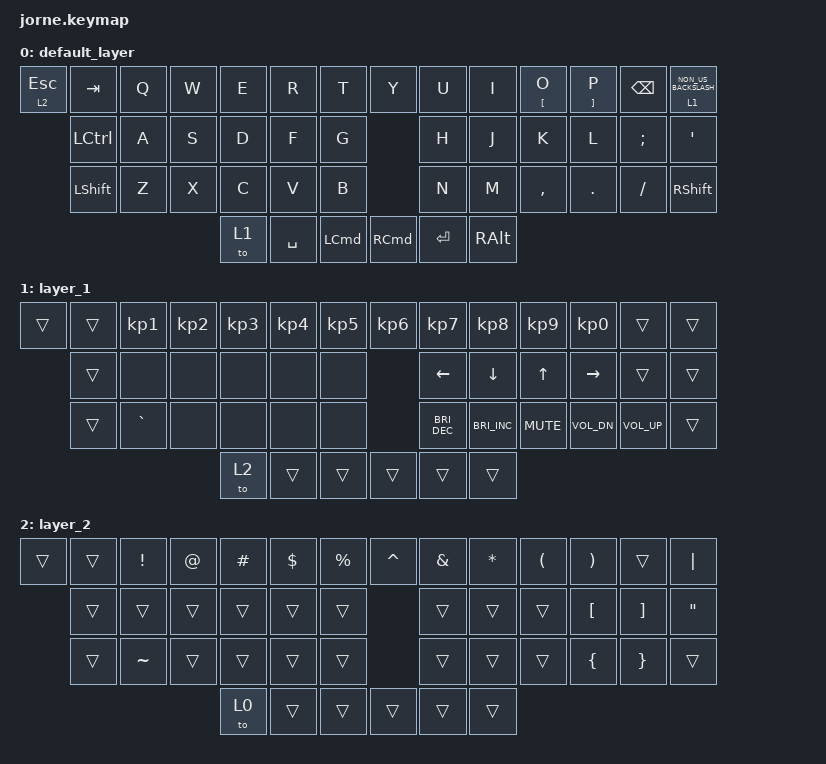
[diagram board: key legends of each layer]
/*
 * Copyright (c) 2020 The ZMK Contributors
 *
 * SPDX-License-Identifier: MIT
 */
/* THIS FILE WAS GENERATED!
 *
 * This file was generated automatically. You may or may not want to
 * edit it directly.
 */

#include <behaviors.dtsi>
#include <dt-bindings/zmk/keys.h>

/ {
    keymap {
        compatible = "zmk,keymap";

        default_layer {
            bindings = <
&lt 2 ESCAPE           &kp TAB  &kp Q  &kp W  &kp E      &kp R             &kp T              &kp Y      &kp U          &kp I  &mt LEFT_BRACKET O  &mt RIGHT_BRACKET P    &kp BACKSPACE  &lt 1 NON_US_BACKSLASH
              &kp LEFT_CONTROL  &kp A  &kp S  &kp D      &kp F             &kp G              &kp H      &kp J          &kp K               &kp L             &kp SEMI          &kp SQT
                &kp LEFT_SHIFT  &kp Z  &kp X  &kp C      &kp V             &kp B              &kp N      &kp M      &kp COMMA             &kp DOT             &kp FSLH  &kp RIGHT_SHIFT
                                              &to 1  &kp SPACE  &kp LEFT_COMMAND  &kp RIGHT_COMMAND  &kp ENTER  &kp RIGHT_ALT
            >;
        };

        layer_1 {
            bindings = <
&trans  &trans  &kp KP_NUMBER_1  &kp KP_N2  &kp KP_NUMBER_3  &kp KP_N4  &kp KP_N5       &kp KP_NUMBER_6       &kp KP_NUMBER_7  &kp KP_NUMBER_8  &kp KP_NUMBER_9  &kp KP_NUMBER_0  &trans  &trans
        &trans            &none      &none            &none      &none      &none        &kp LEFT_ARROW        &kp DOWN_ARROW     &kp UP_ARROW  &kp RIGHT_ARROW           &trans  &trans
        &trans        &kp GRAVE      &none            &none      &none      &none  &kp C_BRIGHTNESS_DEC  &kp C_BRIGHTNESS_INC       &kp K_MUTE     &kp C_VOL_DN  &kp C_VOLUME_UP  &trans
                                                      &to 2     &trans     &trans                &trans                &trans           &trans
            >;
        };

        layer_2 {
            bindings = <
&trans  &trans  &kp EXCLAMATION  &kp AT_SIGN  &kp HASH  &kp DOLLAR  &kp PERCENT  &kp CARET  &kp AMPERSAND  &kp ASTERISK  &kp LEFT_PARENTHESIS  &kp RIGHT_PARENTHESIS             &trans  &kp PIPE
        &trans           &trans       &trans    &trans      &trans       &trans     &trans         &trans        &trans      &kp LEFT_BRACKET      &kp RIGHT_BRACKET  &kp DOUBLE_QUOTES
        &trans        &kp TILDE       &trans    &trans      &trans       &trans     &trans         &trans        &trans        &kp LEFT_BRACE        &kp RIGHT_BRACE             &trans
                                                 &to 0      &trans       &trans     &trans         &trans        &trans
            >;
        };
    };
};
